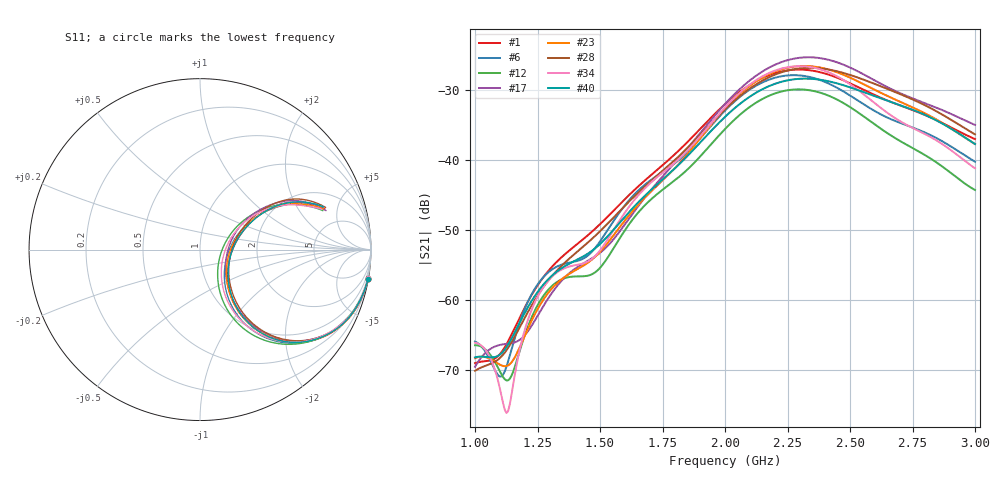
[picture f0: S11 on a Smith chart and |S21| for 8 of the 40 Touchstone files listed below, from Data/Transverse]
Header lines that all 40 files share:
! TOUCHSTONE file generated by CST MICROWAVE STUDIO
! Project name: transverse.cst
! Header version: 2024
! Port assignment regex: !\s*Touchstone port\s*([0-9]+)\s*=\s*(CST MWS port|CST DES external port|CST DES block port)\s*(.+)\s* \(\"(.*)\"\)(\s*mode\s*([0-9]+))?.*
! Touchstone port assignment:
! Touchstone port 1 = CST MWS port 1 ("")
! Touchstone port 2 = CST MWS port 2 ("")
# GHz S MA R 50
Fixed: D = 160, Feed = 2.85625, L = 100, R = 0.384908, Theta = 270, length = 57.125, wave = 114.25
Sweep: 1 GHz to 3 GHz
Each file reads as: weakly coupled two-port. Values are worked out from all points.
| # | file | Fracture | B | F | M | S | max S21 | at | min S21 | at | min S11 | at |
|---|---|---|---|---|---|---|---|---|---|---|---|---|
| 1 | transverse_241.s2p | 1 | 10 | 25 | 10 | 1 | -27.10 dB | 2.296 GHz | -69.0 dB | 1 GHz | -14.8 dB | 2.362 GHz |
| 2 | transverse_242.s2p | 5 | 10 | 25 | 10 | 1 | -27.06 dB | 2.296 GHz | -68.8 dB | 1 GHz | -14.9 dB | 2.362 GHz |
| 3 | transverse_243.s2p | 1 | 10 | 25 | 10 | 2 | -28.48 dB | 2.356 GHz | -65.2 dB | 1.189 GHz | -14.6 dB | 2.364 GHz |
| 4 | transverse_244.s2p | 5 | 10 | 25 | 10 | 2 | -28.29 dB | 2.329 GHz | -68.7 dB | 1 GHz | -14.6 dB | 2.362 GHz |
| 5 | transverse_245.s2p | 1 | 10 | 25 | 20 | 1 | -27.92 dB | 2.276 GHz | -70.7 dB | 1.099 GHz | -15.7 dB | 2.349 GHz |
| 6 | transverse_246.s2p | 5 | 10 | 25 | 20 | 1 | -27.90 dB | 2.276 GHz | -70.9 dB | 1.099 GHz | -15.8 dB | 2.349 GHz |
| 7 | transverse_247.s2p | 1 | 10 | 25 | 20 | 2 | -28.85 dB | 2.289 GHz | -68.7 dB | 1.105 GHz | -15.9 dB | 2.342 GHz |
| 8 | transverse_248.s2p | 5 | 10 | 25 | 20 | 2 | -28.83 dB | 2.289 GHz | -69.0 dB | 1.105 GHz | -15.9 dB | 2.342 GHz |
| 9 | transverse_249.s2p | 1 | 10 | 25 | 30 | 1 | -29.42 dB | 2.289 GHz | -73.1 dB | 1.118 GHz | -17.7 dB | 2.355 GHz |
| 10 | transverse_250.s2p | 5 | 10 | 25 | 30 | 1 | -29.40 dB | 2.289 GHz | -73.5 dB | 1.118 GHz | -17.7 dB | 2.349 GHz |
| 11 | transverse_251.s2p | 1 | 10 | 25 | 30 | 2 | -29.94 dB | 2.296 GHz | -70.7 dB | 1.125 GHz | -18.1 dB | 2.349 GHz |
| 12 | transverse_252.s2p | 5 | 10 | 25 | 30 | 2 | -29.93 dB | 2.294 GHz | -71.5 dB | 1.125 GHz | -18.2 dB | 2.347 GHz |
| 13 | transverse_253.s2p | 1 | 12.5 | 5 | 10 | 1 | -24.81 dB | 2.336 GHz | -70.9 dB | 1 GHz | -16.4 dB | 2.375 GHz |
| 14 | transverse_254.s2p | 5 | 12.5 | 5 | 10 | 1 | -24.88 dB | 2.342 GHz | -71.2 dB | 1 GHz | -16.4 dB | 2.382 GHz |
| 15 | transverse_255.s2p | 1 | 12.5 | 5 | 10 | 2 | -25.53 dB | 2.342 GHz | -71.3 dB | 1 GHz | -16.1 dB | 2.375 GHz |
| 16 | transverse_256.s2p | 5 | 12.5 | 5 | 10 | 2 | -25.48 dB | 2.347 GHz | -71.3 dB | 1 GHz | -16.1 dB | 2.373 GHz |
| 17 | transverse_257.s2p | 1 | 12.5 | 5 | 20 | 1 | -25.35 dB | 2.331 GHz | -69.5 dB | 1 GHz | -16.0 dB | 2.371 GHz |
| 18 | transverse_258.s2p | 5 | 12.5 | 5 | 20 | 1 | -25.40 dB | 2.336 GHz | -69.7 dB | 1 GHz | -15.9 dB | 2.375 GHz |
| 19 | transverse_259.s2p | 1 | 12.5 | 5 | 20 | 2 | -25.80 dB | 2.329 GHz | -69.3 dB | 1 GHz | -15.5 dB | 2.375 GHz |
| 20 | transverse_260.s2p | 5 | 12.5 | 5 | 20 | 2 | -25.80 dB | 2.333 GHz | -69.1 dB | 1 GHz | -15.5 dB | 2.373 GHz |
| 21 | transverse_261.s2p | 1 | 12.5 | 5 | 30 | 1 | -26.49 dB | 2.316 GHz | -69.3 dB | 1.125 GHz | -15.6 dB | 2.349 GHz |
| 22 | transverse_262.s2p | 5 | 12.5 | 5 | 30 | 1 | -26.56 dB | 2.32 GHz | -69.7 dB | 1.125 GHz | -15.5 dB | 2.36 GHz |
| 23 | transverse_263.s2p | 1 | 12.5 | 5 | 30 | 2 | -26.59 dB | 2.316 GHz | -69.4 dB | 1.118 GHz | -15.4 dB | 2.362 GHz |
| 24 | transverse_264.s2p | 5 | 12.5 | 5 | 30 | 2 | -26.59 dB | 2.314 GHz | -70.1 dB | 1.119 GHz | -15.4 dB | 2.36 GHz |
| 25 | transverse_265.s2p | 1 | 12.5 | 15 | 10 | 1 | -24.81 dB | 2.316 GHz | -69.6 dB | 1.125 GHz | -15.4 dB | 2.368 GHz |
| 26 | transverse_266.s2p | 5 | 12.5 | 15 | 10 | 1 | -24.77 dB | 2.32 GHz | -70.0 dB | 1.119 GHz | -15.3 dB | 2.366 GHz |
| 27 | transverse_267.s2p | 1 | 12.5 | 15 | 10 | 2 | -26.89 dB | 2.342 GHz | -70.4 dB | 1 GHz | -14.9 dB | 2.375 GHz |
| 28 | transverse_268.s2p | 5 | 12.5 | 15 | 10 | 2 | -26.85 dB | 2.34 GHz | -70.1 dB | 1 GHz | -14.9 dB | 2.373 GHz |
| 29 | transverse_269.s2p | 1 | 12.5 | 15 | 20 | 1 | -25.14 dB | 2.289 GHz | -70.7 dB | 1.112 GHz | -16.0 dB | 2.342 GHz |
| 30 | transverse_270.s2p | 5 | 12.5 | 15 | 20 | 1 | -25.17 dB | 2.294 GHz | -71.6 dB | 1.112 GHz | -15.9 dB | 2.347 GHz |
| 31 | transverse_271.s2p | 1 | 12.5 | 15 | 20 | 2 | -27.41 dB | 2.303 GHz | -68.8 dB | 1.099 GHz | -15.0 dB | 2.355 GHz |
| 32 | transverse_272.s2p | 5 | 12.5 | 15 | 20 | 2 | -27.39 dB | 2.3 GHz | -69.4 dB | 1.106 GHz | -15.1 dB | 2.353 GHz |
| 33 | transverse_273.s2p | 1 | 12.5 | 15 | 30 | 1 | -26.60 dB | 2.296 GHz | -74.2 dB | 1.125 GHz | -16.9 dB | 2.355 GHz |
| 34 | transverse_274.s2p | 5 | 12.5 | 15 | 30 | 1 | -26.62 dB | 2.3 GHz | -76.1 dB | 1.125 GHz | -17.0 dB | 2.353 GHz |
| 35 | transverse_275.s2p | 1 | 12.5 | 15 | 30 | 2 | -28.13 dB | 2.289 GHz | -72.8 dB | 1.118 GHz | -16.7 dB | 2.349 GHz |
| 36 | transverse_276.s2p | 5 | 12.5 | 15 | 30 | 2 | -28.14 dB | 2.294 GHz | -74.9 dB | 1.125 GHz | -16.7 dB | 2.347 GHz |
| 37 | transverse_277.s2p | 1 | 12.5 | 25 | 10 | 1 | -27.08 dB | 2.276 GHz | -70.4 dB | 1.086 GHz | -15.4 dB | 2.336 GHz |
| 38 | transverse_278.s2p | 5 | 12.5 | 25 | 10 | 1 | -27.07 dB | 2.283 GHz | -69.8 dB | 1.086 GHz | -15.2 dB | 2.342 GHz |
| 39 | transverse_279.s2p | 1 | 12.5 | 25 | 10 | 2 | -28.44 dB | 2.322 GHz | -68.7 dB | 1 GHz | -14.7 dB | 2.355 GHz |
| 40 | transverse_280.s2p | 5 | 12.5 | 25 | 10 | 2 | -28.39 dB | 2.32 GHz | -68.2 dB | 1.066 GHz | -14.8 dB | 2.353 GHz |
